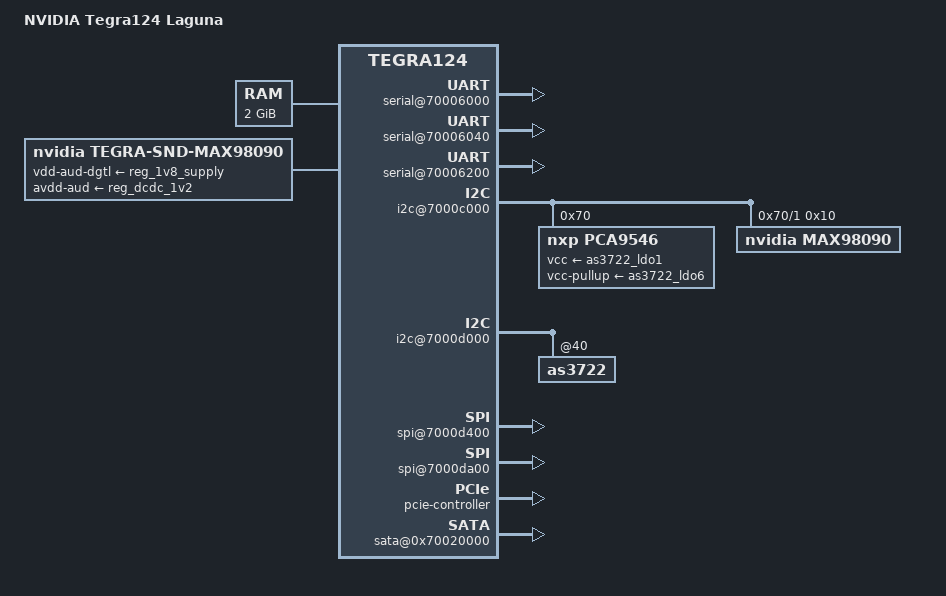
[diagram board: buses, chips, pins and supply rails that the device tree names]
/dts-v1/;

#include "tegra124.dtsi"
#include "tegra124-platforms/tegra124-tn8-keys-e1780-1100-a02.dtsi"
#include "tegra124-platforms/tegra124-pm359-gpio-default.dtsi"
#include "tegra124-platforms/tegra124-pm359-pinmux.dtsi"
#include "tegra124-platforms/tegra124-pm359-pmic.dtsi"
#include "tegra124-platforms/tegra124-pm359-fixed.dtsi"

/ {
	model = "NVIDIA Tegra124 Laguna";
	compatible = "nvidia,laguna", "nvidia,tegra124";
	nvidia,dtsfilename = __FILE__;
	#address-cells = <2>;
	#size-cells = <2>;

	aliases {
		i2c6 = &pca9546_i2c0;
		i2c7 = &pca9546_i2c1;
		i2c8 = &pca9546_i2c2;
		i2c9 = &pca9546_i2c3;
	};

	chosen {
		bootargs = "tegraid=40.0.0.00.00 vmalloc=256M video=tegrafb console=ttyS0,115200n8 earlyprintk";
		linux,initrd-start = <0x85000000>;
		linux,initrd-end = <0x851bc400>;
	};

	pinmux@70000868 {
		pinctrl-names = "default", "drive", "unused", "suspend";
		pinctrl-3 = <&pinmux_suspend>;

		/* Change the pin dap_mclk1_req to required configurations */
		unused_lowpower {
			dap_mclk1_req_pee2 {
			nvidia,pins = "dap_mclk1_req_pee2";
			nvidia,function = "sata";
			nvidia,enable-input = <TEGRA_PIN_DISABLE>;
			nvidia,pull = <TEGRA_PIN_PULL_NONE>;
			nvidia,tristate = <TEGRA_PIN_DISABLE>;
			};
		};

		/* On suspend, make dap_mclk1_req to pull up */
		pinmux_suspend: pins_on_suspend {
		dap_mclk1_req_pee2 {
			nvidia,pins = "dap_mclk1_req_pee2";
			nvidia,pull = <TEGRA_PIN_PULL_UP>;
			};
		};
	};

        serial@70006000 {
                compatible = "nvidia,tegra114-hsuart";
                status = "okay";
        };

        serial@70006040 {
                compatible = "nvidia,tegra114-hsuart";
                status = "okay";
        };

        serial@70006200 {
                compatible = "nvidia,tegra114-hsuart";
                status = "okay";
        };

	i2c@7000c000 {
		pca9546@70 {
			compatible = "nxp,pca9546";
			reg = <0x70>;
			vcc-supply = <&as3722_ldo1>;
			vcc-pullup-supply = <&as3722_ldo6>;
			#address-cells = <1>;
			#size-cells = <0>;
			pca9546_i2c0: i2c@0 {
				reg = <0>;
				i2c-mux,deselect-on-exit;
				#address-cells = <1>;
				#size-cells = <0>;
			};
			pca9546_i2c1: i2c@1 {
				reg = <1>;
				i2c-mux,deselect-on-exit;
				#address-cells = <1>;
				#size-cells = <0>;

				max98090@10 {
					compatible = "nvidia,max98090";
					reg = <0x10>;
					maxim,audio-int = <237>;
					maxim,digmic-left-mode = <1>;
					maxim,digmic-right-mode = <1>;
				};
			};
			pca9546_i2c2: i2c@2 {
				reg = <2>;
				i2c-mux,deselect-on-exit;
				#address-cells = <1>;
				#size-cells = <0>;
			};
			pca9546_i2c3: i2c@3 {
				reg = <3>;
				i2c-mux,deselect-on-exit;
				#address-cells = <1>;
				#size-cells = <0>;
			};
		};
	};

	i2c@7000d000 {
		nvidia,bit-banging-xfer-after-shutdown;

		as3722@40 {
			ams,extcon-name = "as3722-extcon";
		};
	};

	memory@0x80000000 {
		device_type = "memory";
		reg = <0x0 0x80000000 0x0 0x80000000>;
	};

	spi@7000d400 {
		status = "okay";
		spi-max-frequency = <25000000>;
	};

	spi@7000da00 {
		status = "okay";
		spi-max-frequency = <25000000>;
	};

	pmc@7000e400 {
		status = "okay";
		nvidia,invert-interrupt;
		nvidia,suspend-mode = <0>;
		nvidia,cpu-pwr-good-time = <500>;
		nvidia,cpu-pwr-off-time = <300>;
		nvidia,core-pwr-good-time = <3845 3845>;
		nvidia,core-pwr-off-time = <2000>;
		nvidia,core-power-req-active-high;
		nvidia,sys-clock-req-active-high;
		nvidia,lp0-vec = <0xf46ff000 2064>;
	};

	pcie-controller {
		nvidia,port0_status = <1>;
		nvidia,port1_status = <1>;
		nvidia,hot-plug-gpio = <&gpio TEGRA_GPIO(O, 1) 0>;
		nvidia,wake-gpio = <&gpio TEGRA_GPIO(DD, 3) 0>;
		nvidia,x1-slot-gpio = <&tca6416 8 0>;
		hvdd-pex-supply = <&reg_3v3_supply>;
		hvdd-pex-pll-e-supply = <&reg_3v3_supply>;
		dvddio-pex-supply = <&as3722_sd4>;
		avddio-pex-supply = <&as3722_sd4>;
		avdd-pex-pll-supply = <&as3722_sd4>;
		vddio-pex-ctl-supply = <&as3722_sd4>;
		status = "okay";
	};

	tegra-snd-max98090 {
		compatible = "nvidia,tegra-snd-max98090";
		nvidia,name = "tegra-snd-max98090";
		nvidia,id = <0>;
		vdd-aud-dgtl-supply = <&reg_1v8_supply>;
		avdd-aud-supply = <&reg_dcdc_1v2>;
		nvidia,codec-name = "max98090.7-0010";
		nvidia,codec-dai-name = "HiFi";
		nvidia,num-links = <1>;
		nvidia,edp-support;
		nvidia,edp-states = <1080 842 0>;
		nvidia,i2s-param,0,audio-port-id	= <1>;
		nvidia,i2s-param,0,is-i2s-master	= <1>;
		nvidia,i2s-param,0,i2s-mode		= <0>;
		nvidia,i2s-param,0,sample-size		= <16>;
		nvidia,i2s-param,0,channels		= <2>;
		nvidia,i2s-param,0,bit-clk		= <1536000>;
	};

	sata@0x70020000 {
		status = "okay";
		nvidia,pexp-gpio = <&tca6416 9 0>;
		nvidia,enable-sata-port;
        };

};
